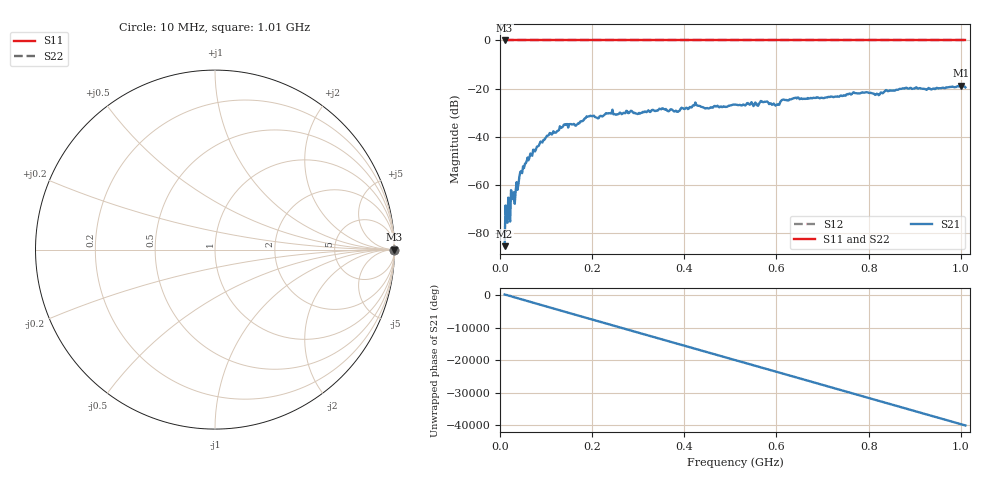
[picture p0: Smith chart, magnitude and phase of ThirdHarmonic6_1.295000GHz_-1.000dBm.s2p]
! 8/16/2025 2:12:22 PM
! C:\ANRITSUVNA\TEMP\TEMP.S2P
! CHANNEL.1
! TR.MEASUREMENT
! RAW.DATA
! RF.CORRECTION.OFF
! AVERAGING.OFF
! IF.BANDWIDTH: 5KHZ
! SWEEPTYPE:  FREQ.SWEEP(Linear)
! Reference Plane Port Info
! PORT:  PORT1  PORT2
! DISTANCE:  0  m  0  m
! TIME:  0  s  0  s
! PHASE.OFFSET:  0  deg.  0  deg.
! LOSS:  0  dB  0  dB
! REF.LOSS:  0  dB  0  dB
! REF.FREQ:  0  Hz  0  Hz
! Power Info
! POWER:  -20  dBm  -20  dBm
! EFF.POWER:  -20  dBm  -20  dBm
! SOURCE.ATTEN:  0  dB  0  dB
! TEST.ATTEN:  0  dB  0  dB
# GHZ S RI R 50.0
! FREQ.GHZ  S11RE  S11IM  S21RE  S21IM  S12RE  S12IM  S22RE  S22IM
!; PortSelection: Port_12
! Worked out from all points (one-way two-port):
!   501 points, 10 MHz to 1.01 GHz, reference 50 ohm
!   highest |S21| = -18.73 dB at 1 GHz (marker M1); lowest = -85.4 dB at 10 MHz (marker M2)
!   lowest |S11| = 0.0 dB at 10 MHz (marker M3)
!   |S11| at or under -10 dB: nowhere
!   |S22| runs from 0.0 to 0.0 dB; largest |S21 - S12| = 1.1
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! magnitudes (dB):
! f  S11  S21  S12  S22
! 10 MHz  0.0  -85.4  0.0  0.0
! 16 MHz  0.0  -75.7  0.0  0.0
! 18 MHz  0.0  -65.2  0.0  0.0
! 22 MHz  0.0  -75.2  0.0  0.0
! 36 MHz  0.0  -58.8  0.0  0.0
! 46 MHz  0.0  -54.2  0.0  0.0
! 70 MHz  0.0  -47.8  0.0  0.0
! 106 MHz  0.0  -39.2  0.0  0.0
! 142 MHz  0.0  -35.0  0.0  0.0
! 178 MHz  0.0  -33.5  0.0  0.0
! 240 MHz  0.0  -30.3  0.0  0.0
! 344 MHz  0.0  -28.8  0.0  0.0
! 382 MHz  0.0  -29.1  0.0  0.0
! 422 MHz  0.0  -27.0  0.0  0.0
! 510 MHz  0.0  -26.6  0.0  0.0
! 570 MHz  0.0  -25.6  0.0  0.0
! 602 MHz  0.0  -26.5  0.0  0.0
! 614 MHz  0.0  -24.6  0.0  0.0
! 678 MHz  0.0  -24.0  0.0  0.0
! 844 MHz  0.0  -20.9  0.0  0.0
! 1 GHz  0.0  -18.7  0.0  0.0
! 1.01 GHz  0.0  -19.5  0.0  0.0
